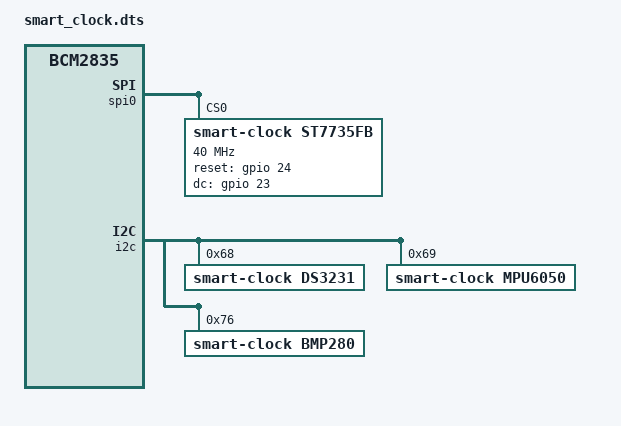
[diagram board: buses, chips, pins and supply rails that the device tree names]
/*
 *  dts overlay
 */

/dts-v1/;
/plugin/;

/ {
	compatible = "brcm,bcm2835";

	/* disable spidev on spi0  */

	fragment@0 {
		target = <&spidev0>;
		__overlay__ {
			status = "disabled";
		};
	};

	/* enable st7735fb tft panel spi  */

	fragment@1 {
		target = <&spi0>;
		__overlay__ {
			/* needed to avoid dtc warning */
			#address-cells = <1>;
			#size-cells = <0>;
			/* needed to avoid dtc warning */

			status = "okay";			
		st7735fb@0 {
				compatible = "smart-clock,st7735fb";
				reg = <0>;
				pinctrl-names = "default";
				spi-max-frequency = <40000000>;
				buswidth = <8>;
				reset-gpios = <&gpio 24 0>;
				dc-gpios = <&gpio 23 0>;

			};
		};
	};

  	/* enable our hardware button  */

	fragment@2 {
    		target-path = "/";
    		__overlay__ {

        	     	button {
               			compatible = "smart-clock,button";
				button_gpio  = <17>;
        		};
			    
		 };

	};

	/* enable rtcclock ds3231  */

	fragment@3 { 
        	target = <&i2c>;
        	__overlay__ {


            		ds3231@68 {
                		compatible = "smart-clock, ds3231";
                		reg = <0x68>;
            		};
        	};
    	};

	/* enable accelerometer mpu6050  */

	fragment@4 { 
        	target = <&i2c>;
        	__overlay__ {


            		mpu6050@69 {
                		compatible = "smart-clock, mpu6050";
                		reg = <0x69>;
            		};
        	};
    	};

	/* enable temp&pressure sens bmp280 i2c  */

	fragment@5 { 
        	target = <&i2c>;
        	__overlay__ {


            		bmp280@76 {
                		compatible = "smart-clock, bmp280";
                		reg = <0x76>;
            		};
        	};
    	};
	

	
	
};


